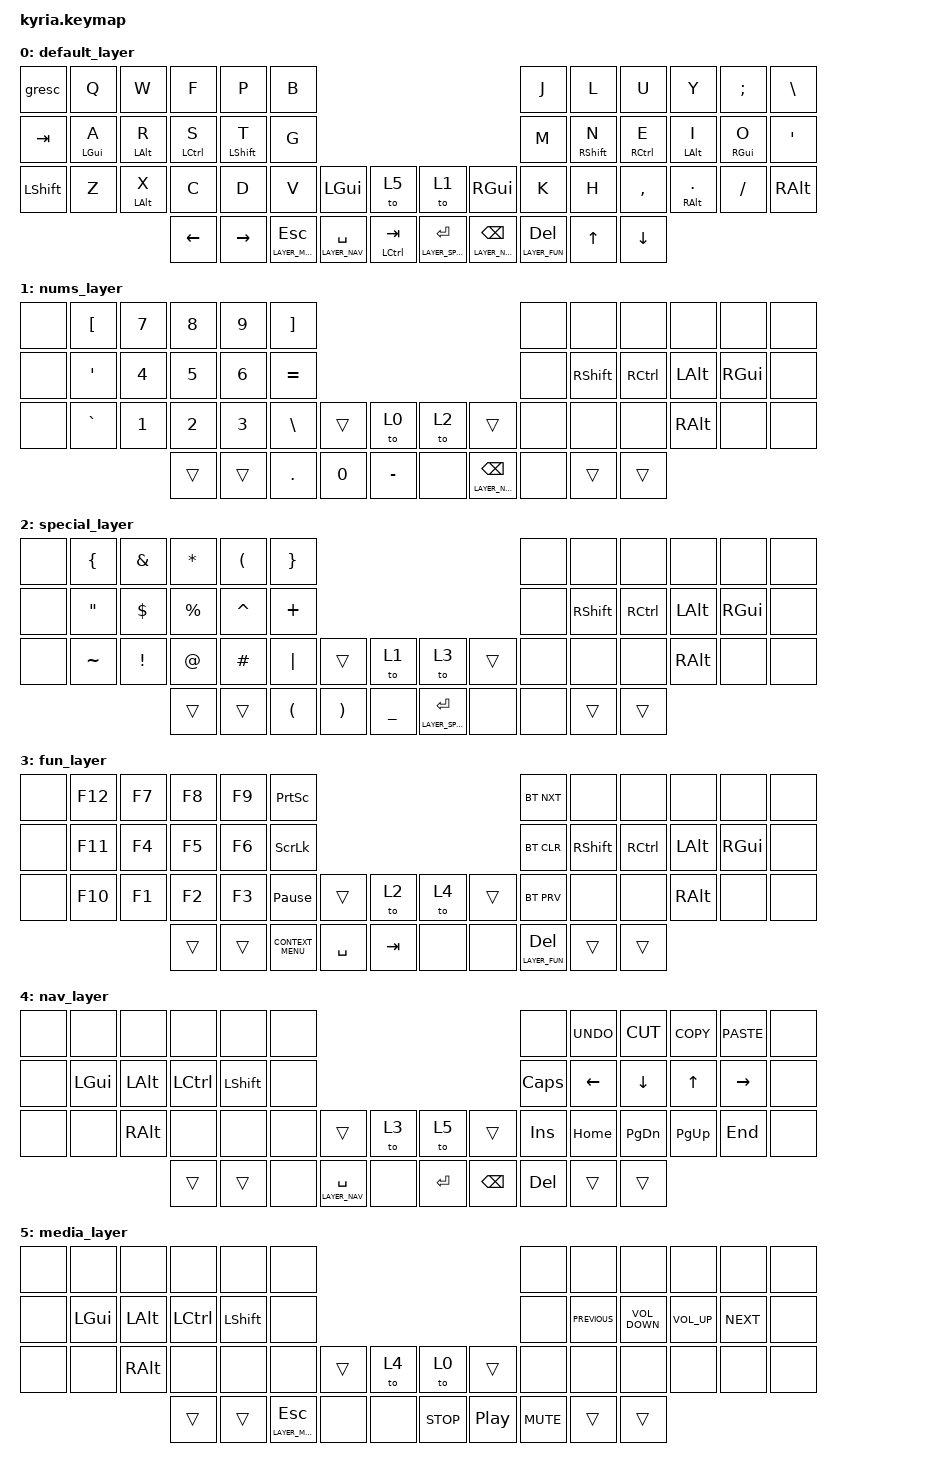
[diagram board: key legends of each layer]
/*
 * Copyright (c) 2020 The ZMK Contributors
 *
 * SPDX-License-Identifier: MIT
 */

#define DEFAULT 0
#define LAYER_NUMS 1
#define LAYER_SPECIAL 2
#define LAYER_FUN 3
#define LAYER_NAV 4
#define LAYER_MEDIA 5

#include <behaviors.dtsi>
#include <dt-bindings/zmk/keys.h>
#include <dt-bindings/zmk/bt.h>

/ {
  combos {
    compatible = "zmk,combos";

    // left
    combo_lbkt {
      timeout-ms = <50>;
      key-positions = <29 42>;
      bindings = <&kp LEFT_BRACKET>;
    };
    combo_lpar {
      timeout-ms = <50>;
      key-positions = <30 43>;
      bindings = <&kp LEFT_PARENTHESIS>;
    };
    combo_lbrc {
      timeout-ms = <50>;
      key-positions = <31 44>;
      bindings = <&kp LEFT_BRACE>;
    };

    // right
    combo_rbkt {
      timeout-ms = <50>;
      key-positions = <34 47>;
      bindings = <&kp RIGHT_BRACKET>;
    };
    combo_rpar {
      timeout-ms = <50>;
      key-positions = <33 46>;
      bindings = <&kp RIGHT_PARENTHESIS>;
    };
    combo_rbrc {
      timeout-ms = <50>;
      key-positions = <32 45>;
      bindings = <&kp RIGHT_BRACE>;
    };
  };

  behaviors {
    hm: homerow_mods {
      compatible = "zmk,behavior-hold-tap";
      label = "HOMEROW_MODS";
      #binding-cells = <2>;
      tapping-term-ms = <150>;
      quick_tap_ms = <0>;
      flavor = "tap-preferred";
      bindings = <&kp>, <&kp>;
    };
  };

  keymap {
    compatible = "zmk,keymap";

    default_layer {
      bindings = <
        &gresc    &kp Q      &kp W      &kp F       &kp P        &kp B                                                                                                 &kp J             &kp L        &kp U        &kp Y        &kp SEMI   &kp BSLH
        &kp TAB   &hm LGUI A &hm LALT R &hm LCTRL S &hm LSHIFT T &kp G                                                                                                 &kp M             &hm RSHIFT N &hm RCTRL E  &hm LALT I   &hm RGUI O &kp SQT
        &kp LSHFT &kp Z      &hm LALT X &kp C       &kp D        &kp V               &kp LGUI            &to 5             &to 1                   &kp RGUI            &kp K             &kp H        &kp COMMA    &hm RALT DOT &kp FSLH   &kp RALT
                                        &kp LEFT    &kp RIGHT    &lt LAYER_MEDIA ESC &lt LAYER_NAV SPACE &mt LCTRL TAB     &lt LAYER_SPECIAL ENTER &lt LAYER_NUMS BSPC &lt LAYER_FUN DEL &kp UP       &kp DOWN
      >;
    };

    nums_layer {
      bindings = <
        &none &kp LEFT_BRACKET &kp N7 &kp N8 &kp N9 &kp RIGHT_BRACKET                                                 &none &none      &none     &none    &none    &none
        &none &kp SINGLE_QUOTE &kp N4 &kp N5 &kp N6 &kp EQUAL                                                         &none &kp RSHIFT &kp RCTRL &kp LALT &kp RGUI &none
        &none &kp GRAVE        &kp N1 &kp N2 &kp N3 &kp BACKSLASH     &trans &to 0          &to 2 &trans              &none &none      &none     &kp RALT &none    &none
                                      &trans &trans &kp PERIOD        &kp N0 &kp MINUS      &none &lt LAYER_NUMS BSPC &none &trans     &trans
      >;
    };

    special_layer {
      bindings = <
        &none &kp LEFT_BRACE    &kp AMPERSAND   &kp ASTERISK &kp LEFT_PARENTHESIS &kp RIGHT_BRACE                                                                               &none &none      &none     &none    &none    &none
        &none &kp DOUBLE_QUOTES &kp DOLLAR      &kp PERCENT  &kp CARET            &kp PLUS                                                                                      &none &kp RSHIFT &kp RCTRL &kp LALT &kp RGUI &none
        &none &kp TILDE         &kp EXCLAMATION &kp AT_SIGN  &kp HASH             &kp PIPE             &trans                &to 1               &to 3                   &trans &none &none      &none     &kp RALT &none    &none
                                                &trans       &trans               &kp LEFT_PARENTHESIS &kp RIGHT_PARENTHESIS &kp UNDERSCORE      &lt LAYER_SPECIAL ENTER &none  &none &trans     &trans
      >;
    };

    fun_layer {
      bindings = <
        &none &kp F12 &kp F7 &kp F8 &kp F9 &kp PRINTSCREEN                                         &bt BT_NXT        &none      &none     &none    &none    &none
        &none &kp F11 &kp F4 &kp F5 &kp F6 &kp SCROLLLOCK                                          &bt BT_CLR        &kp RSHIFT &kp RCTRL &kp LALT &kp RGUI &none
        &none &kp F10 &kp F1 &kp F2 &kp F3 &kp PAUSE_BREAK    &trans    &to 2        &to 4  &trans &bt BT_PRV        &none      &none     &kp RALT &none    &none
                             &trans &trans &kp K_CONTEXT_MENU &kp SPACE &kp TAB      &none  &none  &lt LAYER_FUN DEL &trans     &trans
      >;
    };

    nav_layer {
      bindings = <
        &none &none    &none    &none     &none      &none                                                   &none        &kp K_UNDO &kp K_CUT     &kp K_COPY  &kp K_PASTE &none
        &none &kp LGUI &kp LALT &kp LCTRL &kp LSHIFT &none                                                   &kp CAPSLOCK &kp LEFT   &kp DOWN      &kp UP      &kp RIGHT   &none
        &none &none    &kp RALT &none     &none      &none &trans              &to 3      &to 5     &trans   &kp INS      &kp HOME   &kp PAGE_DOWN &kp PAGE_UP &kp END     &none
                                &trans    &trans     &none &lt LAYER_NAV SPACE &none      &kp ENTER &kp BSPC &kp DEL      &trans     &trans
      >;
    };

    media_layer {
      bindings = <
        &none &none    &none    &none     &none      &none                                                             &none      &none          &none             &none           &none      &none
        &none &kp LGUI &kp LALT &kp LCTRL &kp LSHIFT &none                                                             &none      &kp C_PREVIOUS &kp C_VOLUME_DOWN &kp C_VOLUME_UP &kp C_NEXT &none
        &none &none    &kp RALT &none     &none      &none               &trans &to 4      &to 0      &trans           &none      &none          &none             &none           &none      &none
                                &trans    &trans     &lt LAYER_MEDIA ESC &none  &none      &kp C_STOP &kp C_PLAY_PAUSE &kp K_MUTE &trans         &trans
      >;
    };
  };
};

// &trans &trans &trans &trans &trans &trans                                  &trans &trans &trans &trans &trans &trans
// &trans &trans &trans &trans &trans &trans                                  &trans &trans &trans &trans &trans &trans
// &trans &trans &trans &trans &trans &trans &trans &trans      &trans &trans &trans &trans &trans &trans &trans &trans
//                      &trans &trans &trans &trans &trans      &trans &trans &trans &trans &trans

// &none &none &none &none &none &none                              &none &none &none &none &none &none
// &none &none &none &none &none &none                              &none &none &none &none &none &none
// &none &none &none &none &none &none &none &none      &none &none &none &none &none &none &none &none
//                   &none &none &none &none &none      &none &none &none &none &none

